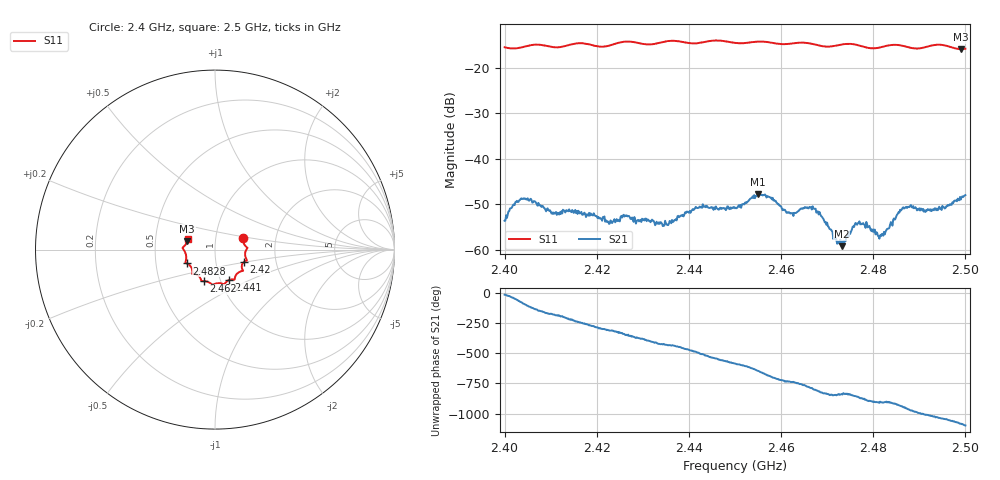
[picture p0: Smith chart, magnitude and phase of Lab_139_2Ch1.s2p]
# Hz S RI R 50
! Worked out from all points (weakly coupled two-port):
!   601 points, 2.4 GHz to 2.5 GHz, reference 50 ohm
!   highest |S21| = -47.79 dB at 2.455 GHz (marker M1); lowest = -59.2 dB at 2.4732 GHz (marker M2)
!   lowest |S11| = -15.8 dB at 2.499 GHz (marker M3), VSWR 1.39, Z = 36.5 + j3.49 ohm
!   |S11| at or under -10 dB: start of sweep to end of sweep
!   S12 and S22 are empty: the file has one direction only
!   S11 on the Smith chart (normalised r, x): 2.4 GHz: 1.36, +0.18; 2.42 GHz: 1.36, -0.20; 2.441 GHz: 1.10, -0.39; 2.462 GHz: 0.84, -0.30; 2.4828 GHz: 0.72, -0.11; 2.5 GHz: 0.73, +0.09
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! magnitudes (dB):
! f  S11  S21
! 2.4 GHz  -15.4  -53.6
! 2.404 GHz  -15.4  -48.8
! 2.4105 GHz  -15.4  -52.1
! 2.4167 GHz  -14.5  -51.7
! 2.42 GHz  -15.2  -52.6
! 2.4333 GHz  -14.5  -54.3
! 2.441 GHz  -14.6  -51.3
! 2.45 GHz  -14.5  -50.9
! 2.455 GHz  -14.2  -47.8
! 2.462 GHz  -14.6  -52.0
! 2.4667 GHz  -14.6  -51.2
! 2.4688 GHz  -15.2  -52.7
! 2.4718 GHz  -15.1  -57.5
! 2.4732 GHz  -14.8  -59.2
! 2.4765 GHz  -14.9  -54.5
! 2.4813 GHz  -15.5  -57.6
! 2.4828 GHz  -15.1  -55.7
! 2.4833 GHz  -15.0  -55.4
! 2.4867 GHz  -15.2  -51.0
! 2.4943 GHz  -14.8  -50.6
! 2.499 GHz  -15.8  -49.0
! 2.5 GHz  -15.7  -48.0
